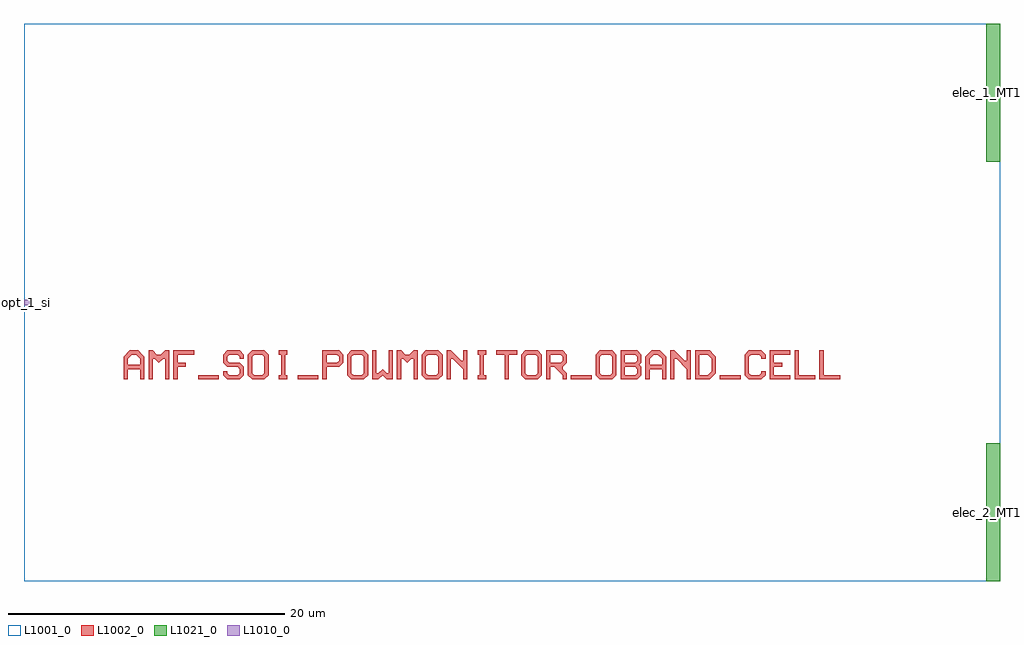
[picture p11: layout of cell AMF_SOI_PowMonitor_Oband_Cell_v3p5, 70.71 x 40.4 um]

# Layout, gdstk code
import gdstk
lib = gdstk.Library(unit=1e-6, precision=1e-09)
def R(c, l, rs):  # rectangles x0, y0, x1, y1
    for r in rs: c.add(gdstk.rectangle(r[:2], r[2:], *l))
def P(c, l, *ps):  # polygons
    for p in ps: c.add(gdstk.Polygon(p, *l))
L1001_0 = (1001, 0)
L1002_0 = (1002, 0)
L1010_0 = (1010, 0)
L1021_0 = (1021, 0)

amf_soi_powmonitor_oband = lib.new_cell('AMF_SOI_PowMonitor_Oband_Cell_v3p5')
R(amf_soi_powmonitor_oband, L1001_0, [(0,-20.2,70.71,20.2)])
R(amf_soi_powmonitor_oband, L1002_0, [(12.623,-5.572,14.123,-5.272), (19.823,-5.572,21.323,-5.272), (39.623,-5.572,41.123,-5.272), (50.423,-5.572,51.923,-5.272)])
P(amf_soi_powmonitor_oband, L1002_0, [(7.223,-5.572),(7.223,-3.922),(7.673,-3.472),(8.273,-3.472),(8.573,-3.772),(7.823,-3.772),(7.523,-4.072),(7.523,-4.522),(8.423,-4.522),(8.423,-4.072),(8.123,-3.772),(8.573,-3.772),(8.723,-3.922),(8.723,-5.572),(8.423,-5.572),(8.423,-4.822),(7.523,-4.822),(7.523,-5.572)],
  [(9.023,-5.572),(9.023,-3.472),(9.323,-3.472),(9.623,-3.772),(9.923,-3.772),(10.223,-3.472),(10.523,-3.472),(10.523,-5.572),(10.223,-5.572),(10.223,-4.072),(10.073,-4.072),(9.773,-4.372),(9.473,-4.072),(9.323,-4.072),(9.323,-5.572)],
  [(10.823,-5.572),(10.823,-3.472),(12.323,-3.472),(12.323,-3.772),(11.123,-3.772),(11.123,-4.372),(11.723,-4.372),(11.723,-4.672),(11.123,-4.672),(11.123,-5.572)],
  [(14.723,-5.572),(14.423,-5.272),(14.423,-4.972),(14.723,-4.972),(14.723,-5.122),(14.873,-5.272),(15.473,-5.272),(15.623,-5.122),(15.623,-4.822),(15.473,-4.672),(14.723,-4.672),(14.423,-4.372),(14.423,-3.772),(14.723,-3.472),(15.623,-3.472),(15.923,-3.772),(15.923,-4.072),(15.623,-4.072),(15.623,-3.922),(15.473,-3.772),(14.873,-3.772),(14.723,-3.922),(14.723,-4.222),(14.873,-4.372),(15.623,-4.372),(15.923,-4.672),(15.923,-5.272),(15.623,-5.572)],
  [(16.523,-5.572),(16.223,-5.272),(16.223,-3.772),(16.523,-3.472),(17.423,-3.472),(17.723,-3.772),(17.723,-4.522),(17.423,-4.522),(17.423,-3.922),(17.273,-3.772),(16.673,-3.772),(16.523,-3.922),(16.523,-5.122),(16.673,-5.272),(17.273,-5.272),(17.423,-5.122),(17.423,-4.522),(17.723,-4.522),(17.723,-5.272),(17.423,-5.572)],
  [(18.473,-5.572),(18.473,-5.272),(18.623,-5.272),(18.623,-3.772),(18.473,-3.772),(18.473,-3.472),(19.073,-3.472),(19.073,-3.772),(18.923,-3.772),(18.923,-5.272),(19.073,-5.272),(19.073,-5.572)],
  [(21.623,-5.572),(21.623,-3.472),(22.823,-3.472),(23.123,-3.772),(23.123,-4.372),(22.823,-4.672),(21.923,-4.672),(21.923,-4.372),(22.673,-4.372),(22.823,-4.222),(22.823,-3.922),(22.673,-3.772),(21.923,-3.772),(21.923,-5.572)],
  [(23.723,-5.572),(23.423,-5.272),(23.423,-3.772),(23.723,-3.472),(24.623,-3.472),(24.923,-3.772),(24.923,-4.522),(24.623,-4.522),(24.623,-3.922),(24.473,-3.772),(23.873,-3.772),(23.723,-3.922),(23.723,-5.122),(23.873,-5.272),(24.473,-5.272),(24.623,-5.122),(24.623,-4.522),(24.923,-4.522),(24.923,-5.272),(24.623,-5.572)],
  [(25.223,-5.572),(25.223,-3.472),(25.523,-3.472),(25.523,-5.122),(25.673,-5.122),(25.973,-4.822),(26.273,-5.122),(26.423,-5.122),(26.423,-3.472),(26.723,-3.472),(26.723,-5.572),(26.273,-5.572),(25.973,-5.272),(25.673,-5.572)],
  [(27.023,-5.572),(27.023,-3.472),(27.323,-3.472),(27.623,-3.772),(27.923,-3.772),(28.223,-3.472),(28.523,-3.472),(28.523,-5.572),(28.223,-5.572),(28.223,-4.072),(28.073,-4.072),(27.773,-4.372),(27.473,-4.072),(27.323,-4.072),(27.323,-5.572)],
  [(29.123,-5.572),(28.823,-5.272),(28.823,-3.772),(29.123,-3.472),(30.023,-3.472),(30.323,-3.772),(30.323,-4.522),(30.023,-4.522),(30.023,-3.922),(29.873,-3.772),(29.273,-3.772),(29.123,-3.922),(29.123,-5.122),(29.273,-5.272),(29.873,-5.272),(30.023,-5.122),(30.023,-4.522),(30.323,-4.522),(30.323,-5.272),(30.023,-5.572)],
  [(30.623,-5.572),(30.623,-3.472),(30.923,-3.472),(31.673,-4.222),(31.823,-4.222),(31.823,-3.472),(32.123,-3.472),(32.123,-5.572),(31.823,-5.572),(31.823,-4.822),(31.073,-4.072),(30.923,-4.072),(30.923,-5.572)],
  [(32.873,-5.572),(32.873,-5.272),(33.023,-5.272),(33.023,-3.772),(32.873,-3.772),(32.873,-3.472),(33.473,-3.472),(33.473,-3.772),(33.323,-3.772),(33.323,-5.272),(33.473,-5.272),(33.473,-5.572)],
  [(34.823,-5.572),(34.823,-3.772),(34.223,-3.772),(34.223,-3.472),(35.723,-3.472),(35.723,-3.772),(35.123,-3.772),(35.123,-5.572)],
  [(36.323,-5.572),(36.023,-5.272),(36.023,-3.772),(36.323,-3.472),(37.223,-3.472),(37.523,-3.772),(37.523,-4.522),(37.223,-4.522),(37.223,-3.922),(37.073,-3.772),(36.473,-3.772),(36.323,-3.922),(36.323,-5.122),(36.473,-5.272),(37.073,-5.272),(37.223,-5.122),(37.223,-4.522),(37.523,-4.522),(37.523,-5.272),(37.223,-5.572)],
  [(37.823,-5.572),(37.823,-3.472),(39.023,-3.472),(39.323,-3.772),(38.123,-3.772),(38.123,-4.372),(38.873,-4.372),(39.023,-4.222),(39.023,-3.922),(38.873,-3.772),(39.323,-3.772),(39.323,-4.372),(39.023,-4.672),(39.023,-4.822),(39.323,-5.122),(39.323,-5.572),(39.023,-5.572),(39.023,-5.272),(38.423,-4.672),(38.123,-4.672),(38.123,-5.572)],
  [(41.723,-5.572),(41.423,-5.272),(41.423,-3.772),(41.723,-3.472),(42.623,-3.472),(42.923,-3.772),(42.923,-4.522),(42.623,-4.522),(42.623,-3.922),(42.473,-3.772),(41.873,-3.772),(41.723,-3.922),(41.723,-5.122),(41.873,-5.272),(42.473,-5.272),(42.623,-5.122),(42.623,-4.522),(42.923,-4.522),(42.923,-5.272),(42.623,-5.572)],
  [(43.223,-5.572),(43.223,-3.472),(44.423,-3.472),(44.723,-3.772),(43.523,-3.772),(43.523,-4.372),(44.273,-4.372),(44.423,-4.222),(44.423,-3.922),(44.273,-3.772),(44.723,-3.772),(44.723,-4.372),(44.573,-4.522),(44.723,-4.672),(43.523,-4.672),(43.523,-5.272),(44.273,-5.272),(44.423,-5.122),(44.423,-4.822),(44.273,-4.672),(44.723,-4.672),(44.723,-5.272),(44.423,-5.572)],
  [(45.023,-5.572),(45.023,-3.922),(45.473,-3.472),(46.073,-3.472),(46.373,-3.772),(45.623,-3.772),(45.323,-4.072),(45.323,-4.522),(46.223,-4.522),(46.223,-4.072),(45.923,-3.772),(46.373,-3.772),(46.523,-3.922),(46.523,-5.572),(46.223,-5.572),(46.223,-4.822),(45.323,-4.822),(45.323,-5.572)],
  [(46.823,-5.572),(46.823,-3.472),(47.123,-3.472),(47.873,-4.222),(48.023,-4.222),(48.023,-3.472),(48.323,-3.472),(48.323,-5.572),(48.023,-5.572),(48.023,-4.822),(47.273,-4.072),(47.123,-4.072),(47.123,-5.572)],
  [(48.623,-5.572),(48.623,-3.472),(49.673,-3.472),(49.973,-3.772),(48.923,-3.772),(48.923,-5.272),(49.523,-5.272),(49.823,-4.972),(49.823,-4.072),(49.523,-3.772),(49.973,-3.772),(50.123,-3.922),(50.123,-5.122),(49.673,-5.572)],
  [(52.523,-5.572),(52.223,-5.272),(52.223,-3.772),(52.523,-3.472),(53.423,-3.472),(53.723,-3.772),(53.723,-4.072),(53.423,-4.072),(53.423,-3.922),(53.273,-3.772),(52.673,-3.772),(52.523,-3.922),(52.523,-5.122),(52.673,-5.272),(53.273,-5.272),(53.423,-5.122),(53.423,-4.972),(53.723,-4.972),(53.723,-5.272),(53.423,-5.572)],
  [(54.023,-5.572),(54.023,-3.472),(55.523,-3.472),(55.523,-3.772),(54.323,-3.772),(54.323,-4.372),(54.923,-4.372),(54.923,-4.672),(54.323,-4.672),(54.323,-5.272),(55.523,-5.272),(55.523,-5.572)],
  [(55.823,-5.572),(55.823,-3.472),(56.123,-3.472),(56.123,-5.272),(57.323,-5.272),(57.323,-5.572)],
  [(57.623,-5.572),(57.623,-3.472),(57.923,-3.472),(57.923,-5.272),(59.123,-5.272),(59.123,-5.572)])
R(amf_soi_powmonitor_oband, L1010_0, [(0,-0.205,0.41,0.205)])
R(amf_soi_powmonitor_oband, L1021_0, [(69.71,-20.2,70.71,-10.2), (69.71,10.2,70.71,20.2)])
amf_soi_powmonitor_oband.add(gdstk.Label('opt_1_si', (0,0), layer=1010, texttype=0))
amf_soi_powmonitor_oband.add(gdstk.Label('elec_1_MT1', (70.71,15.2), layer=1021, texttype=0))
amf_soi_powmonitor_oband.add(gdstk.Label('elec_2_MT1', (70.71,-15.2), layer=1021, texttype=0))

lib.write_gds('AMF_SOI_PowMonitor_Oband_Cell_v3p5.gds')
